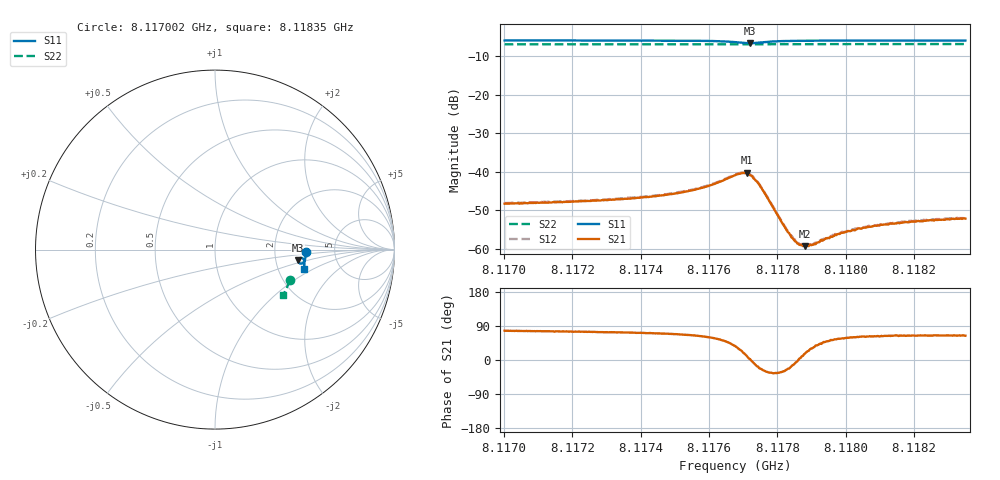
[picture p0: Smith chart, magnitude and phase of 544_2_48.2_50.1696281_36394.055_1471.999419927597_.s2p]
#  HZ  S  RI  R  50.00
! Rohde & Schwarz Vector Network Analyzer
! Rohde-Schwarz,ZNB20-2Port,1311601062101988,3.16
! Created: UTC 3/20/2024, 12:00:30 PM
! freq[Hz]  re:S11  im:S11  re:S21  im:S21  re:S12  im:S12  re:S22  im:S22
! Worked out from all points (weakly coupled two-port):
!   401 points, 8.117002 GHz to 8.11835 GHz, reference 50 ohm
!   highest |S21| = -40.31 dB at 8.11771 GHz (marker M1); lowest = -59.4 dB at 8.117882 GHz (marker M2)
!   lowest |S11| = -6.6 dB at 8.11772 GHz (marker M3), VSWR 2.75, Z = 134 - j20.2 ohm
!   |S11| at or under -10 dB: nowhere
!   |S22| runs from -6.9 to -6.8 dB; largest |S21 - S12| = 0.00031
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8.1170016e9  0.5064 -0.0157  0.000842 0.00373  0.00093 0.00379  0.4189 -0.1687
8.1172275e9  0.5051 -0.0339  0.00109 0.00398  0.00115 0.00404  0.4131 -0.1834
8.1174534e9  0.5019 -0.0537  0.00165 0.00457  0.00175 0.00462  0.4069 -0.198
8.1175175e9  0.4999 -0.0606  0.00206 0.00491  0.00216 0.00503  0.4051 -0.2022
8.1175748e9  0.4966 -0.0675  0.00274 0.00542  0.00284 0.00552  0.4032 -0.2059
8.1176153e9  0.4921 -0.0729  0.00372 0.00581  0.00382 0.00591  0.4019 -0.2085
8.117676e9  0.4755 -0.0779  0.00719 0.00539  0.00737 0.00547  0.3993 -0.2122
8.1176928e9  0.4681 -0.0742  0.00849 0.00413  0.00874 0.00416  0.3986 -0.2129
8.1177097e9  0.463 -0.0654  0.00945 0.00193  0.0095 0.0018  0.3979 -0.2135
8.1177198e9  0.4631 -0.0589  0.00899 0.000403  0.00923 0.000206  0.3976 -0.2137
8.1177367e9  0.4684 -0.0498  0.00744 -0.00172  0.00768 -0.00178  0.3975 -0.2144
8.1177535e9  0.4768 -0.0461  0.00556 -0.00252  0.00568 -0.0026  0.3975 -0.2155
8.117821e9  0.495 -0.0555  0.00168 -0.000937  0.00172 -0.000963  0.3962 -0.22
8.1178446e9  0.497 -0.0597  0.00132 -0.000322  0.00136 -0.000371  0.3956 -0.2218
8.1178648e9  0.4977 -0.0628  0.00111 7.9e-05  0.00114 3.23e-05  0.3949 -0.2231
8.1178817e9  0.4982 -0.0652  0.00102 0.000326  0.00106 0.000309  0.3943 -0.2242
8.1179019e9  0.4985 -0.0678  0.000958 0.000571  0.000977 0.000549  0.3938 -0.2256
8.1179828e9  0.4987 -0.077  0.000865 0.00128  0.000895 0.00131  0.391 -0.2305
8.1180334e9  0.4982 -0.082  0.000871 0.00157  0.00087 0.0016  0.3893 -0.2338
8.1181278e9  0.4971 -0.0903  0.000903 0.00189  0.000977 0.00189  0.3862 -0.2396
8.1182492e9  0.4952 -0.1002  0.00101 0.00212  0.00103 0.00212  0.3819 -0.247
8.1183504e9  0.4936 -0.1081  0.00107 0.0022  0.00109 0.00228  0.3782 -0.2532
